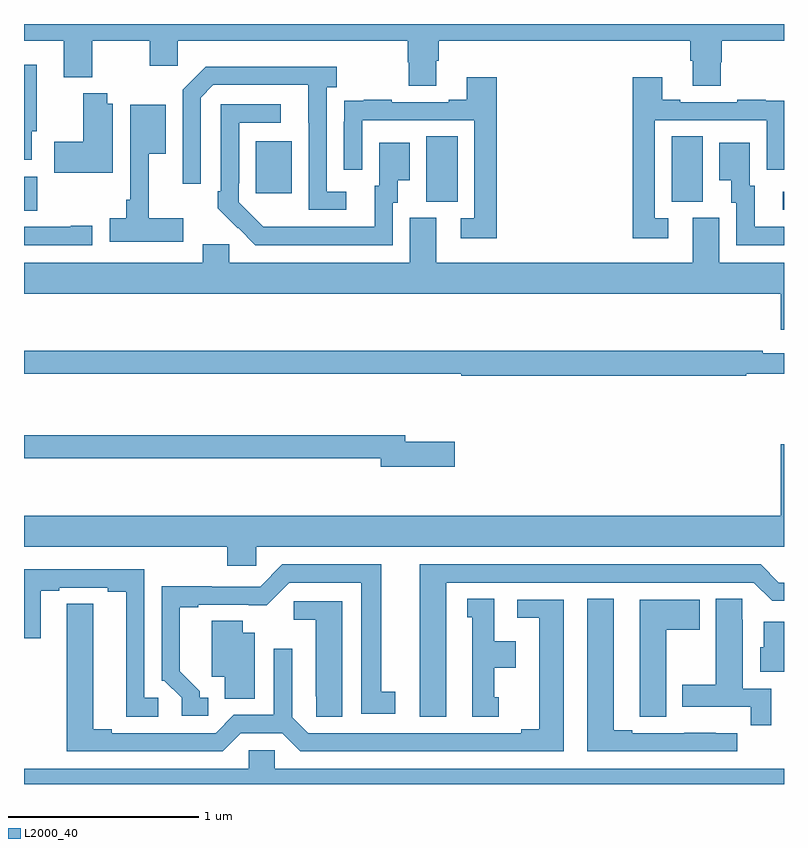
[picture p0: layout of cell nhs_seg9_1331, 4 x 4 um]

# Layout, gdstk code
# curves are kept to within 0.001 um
import gdstk
lib = gdstk.Library(unit=1e-6, precision=1e-09)
def R(c, l, rs):  # rectangles x0, y0, x1, y1
    for r in rs: c.add(gdstk.rectangle(r[:2], r[2:], *l))
def P(c, l, *ps):  # polygons
    for p in ps: c.add(gdstk.Polygon(p, *l))
L2000_40 = (2000, 40)

nhs_seg9_1331 = lib.new_cell('nhs_seg9_1331')
R(nhs_seg9_1331, L2000_40, [(185,1203.517,185.069,1203.696), (188.994,1203.522,189,1203.618), (187.118,1203.565,187.282,1203.908), (188.408,1203.565,188.572,1203.908), (186.221,1203.609,186.409,1203.883)])
P(nhs_seg9_1331, L2000_40, [(185,1204.412),(185.21,1204.412),(185.21,1204.22),(185.358,1204.22),(185.358,1204.412),(185.662,1204.412),(185.662,1204.281),(185.808,1204.281),(185.808,1204.412),(187.019,1204.412),(187.019,1204.299),(187.024,1204.299),(187.024,1204.174),(187.171,1204.174),(187.171,1204.306),(187.184,1204.306),(187.184,1204.412),(188.507,1204.412),(188.507,1204.306),(188.519,1204.306),(188.519,1204.174),(188.667,1204.174),(188.667,1204.299),(188.672,1204.299),(188.672,1204.412),(189,1204.412),(189,1204.5),(185,1204.5)],
  [(185.041,1203.936),(185.068,1203.936),(185.068,1204.285),(185,1204.285),(185,1203.785),(185.041,1203.785)],
  [(186.697,1203.618),(186.594,1203.618),(186.594,1204.166),(186.646,1204.166),(186.646,1204.276),(185.956,1204.276),(185.835,1204.155),(185.835,1203.66),(185.931,1203.66),(185.931,1204.113),(185.997,1204.179),(186.497,1204.179),(186.498,1203.522),(186.697,1203.522)],
  [(188.392,1203.477),(188.319,1203.477),(188.319,1203.993),(188.91,1203.993),(188.91,1203.732),(189,1203.732),(189,1204.095),(188.903,1204.095),(188.903,1204.102),(188.755,1204.102),(188.755,1204.089),(188.455,1204.089),(188.455,1204.102),(188.359,1204.102),(188.359,1204.219),(188.203,1204.219),(188.203,1203.372),(188.392,1203.372)],
  [(187.487,1204.219),(187.331,1204.219),(187.331,1204.102),(187.235,1204.102),(187.235,1204.089),(186.935,1204.089),(186.935,1204.102),(186.787,1204.102),(186.787,1204.095),(186.685,1204.095),(186.685,1203.986),(186.684,1203.986),(186.684,1203.732),(186.78,1203.732),(186.78,1203.993),(187.371,1203.993),(187.371,1203.477),(187.299,1203.477),(187.299,1203.372),(187.487,1203.372)],
  [(185.467,1204.081),(185.437,1204.081),(185.437,1204.135),(185.312,1204.135),(185.312,1203.879),(185.16,1203.879),(185.16,1203.716),(185.467,1203.716)],
  [(186.942,1203.558),(186.967,1203.558),(186.967,1203.677),(187.03,1203.677),(187.03,1203.874),(186.869,1203.874),(186.869,1203.648),(186.845,1203.648),(186.845,1203.432),(186.258,1203.433),(186.129,1203.561),(186.129,1203.661),(186.132,1203.661),(186.132,1203.981),(186.352,1203.981),(186.352,1204.077),(186.036,1204.077),(186.036,1203.619),(186.021,1203.619),(186.021,1203.531),(186.218,1203.336),(186.942,1203.336)],
  [(185.839,1203.478),(185.657,1203.478),(185.657,1203.818),(185.746,1203.818),(185.746,1204.075),(185.559,1204.075),(185.559,1203.574),(185.539,1203.574),(185.539,1203.478),(185.45,1203.478),(185.45,1203.353),(185.839,1203.353)],
  [(189,1203.432),(188.845,1203.432),(188.845,1203.648),(188.821,1203.648),(188.821,1203.874),(188.66,1203.874),(188.66,1203.677),(188.723,1203.677),(188.723,1203.558),(188.748,1203.558),(188.748,1203.336),(189,1203.336)],
  [(189,1203.244),(188.659,1203.244),(188.659,1203.48),(188.519,1203.48),(188.519,1203.244),(187.171,1203.244),(187.171,1203.48),(187.031,1203.48),(187.031,1203.244),(186.081,1203.244),(186.081,1203.342),(185.942,1203.342),(185.942,1203.244),(185,1203.244),(185,1203.08),(188.984,1203.08),(188.984,1202.892),(189,1202.892)],
  [(185.359,1203.437),(185.246,1203.437),(185.246,1203.432),(185,1203.432),(185,1203.336),(185.359,1203.336)],
  [(188.8,1202.658),(189,1202.658),(189,1202.766),(188.888,1202.766),(188.888,1202.779),(185,1202.779),(185,1202.658),(187.3,1202.658),(187.3,1202.65),(188.8,1202.65)],
  [(187.267,1202.301),(187.006,1202.301),(187.006,1202.335),(185,1202.335),(185,1202.214),(186.878,1202.214),(186.878,1202.171),(187.267,1202.171)],
  [(186.222,1201.748),(189,1201.748),(189,1202.287),(188.984,1202.287),(188.984,1201.912),(185,1201.912),(185,1201.748),(186.071,1201.748),(186.071,1201.65),(186.222,1201.65)],
  [(187.222,1201.56),(188.841,1201.56),(188.937,1201.464),(189,1201.464),(189,1201.56),(188.973,1201.56),(188.877,1201.656),(187.082,1201.656),(187.082,1200.855),(187.222,1200.855)],
  [(185.971,1200.954),(185.926,1200.954),(185.926,1200.989),(185.821,1201.094),(185.821,1201.431),(185.917,1201.431),(185.917,1201.443),(186.278,1201.442),(186.396,1201.56),(186.776,1201.56),(186.776,1200.87),(186.955,1200.87),(186.955,1200.986),(186.88,1200.986),(186.88,1201.656),(186.36,1201.656),(186.243,1201.539),(185.987,1201.539),(185.987,1201.541),(185.724,1201.541),(185.724,1201.044),(185.739,1201.044),(185.829,1200.954),(185.829,1200.858),(185.971,1200.858)],
  [(185.707,1200.954),(185.634,1200.954),(185.634,1201.629),(185,1201.629),(185,1201.267),(185.089,1201.267),(185.089,1201.518),(185.185,1201.518),(185.185,1201.533),(185.441,1201.533),(185.441,1201.513),(185.537,1201.513),(185.537,1200.853),(185.707,1200.853)],
  [(187.498,1200.957),(187.474,1200.957),(187.474,1201.112),(187.588,1201.112),(187.588,1201.252),(187.474,1201.252),(187.474,1201.475),(187.334,1201.475),(187.334,1201.377),(187.358,1201.377),(187.358,1200.855),(187.498,1200.855)],
  [(188.755,1200.768),(188.642,1200.768),(188.642,1200.769),(188.476,1200.769),(188.476,1200.768),(188.2,1200.768),(188.2,1200.783),(188.104,1200.783),(188.104,1201.475),(187.964,1201.475),(187.964,1200.672),(188.755,1200.672)],
  [(188.933,1201.002),(188.782,1201.002),(188.782,1201.364),(188.781,1201.364),(188.781,1201.475),(188.642,1201.475),(188.642,1201.023),(188.465,1201.023),(188.465,1200.906),(188.824,1200.906),(188.824,1200.81),(188.933,1200.81)],
  [(188.38,1201.312),(188.557,1201.312),(188.557,1201.471),(188.24,1201.471),(188.24,1200.961),(188.241,1200.961),(188.241,1200.853),(188.38,1200.853)],
  [(186.141,1200.768),(186.359,1200.768),(186.455,1200.672),(187.84,1200.672),(187.84,1201.47),(187.596,1201.47),(187.596,1201.374),(187.712,1201.374),(187.712,1200.788),(187.616,1200.788),(187.616,1200.768),(186.495,1200.768),(186.411,1200.852),(186.411,1201.213),(186.315,1201.213),(186.315,1200.864),(186.105,1200.864),(186.009,1200.768),(185.461,1200.768),(185.461,1200.788),(185.365,1200.788),(185.365,1201.448),(185.226,1201.448),(185.225,1200.672),(186.045,1200.672)],
  [(186.676,1201.461),(186.42,1201.461),(186.42,1201.364),(186.536,1201.364),(186.536,1200.961),(186.537,1200.961),(186.537,1200.853),(186.676,1200.853)],
  [(186.214,1201.297),(186.151,1201.297),(186.151,1201.358),(185.987,1201.358),(185.987,1201.064),(186.056,1201.064),(186.056,1200.949),(186.214,1200.949)],
  [(189,1201.354),(188.894,1201.354),(188.894,1201.221),(188.876,1201.221),(188.876,1201.091),(189,1201.091)],
  [(189,1200.58),(186.321,1200.58),(186.321,1200.678),(186.183,1200.678),(186.183,1200.58),(185,1200.58),(185,1200.5),(189,1200.5)])

lib.write_gds('nhs_seg9_1331.gds')
